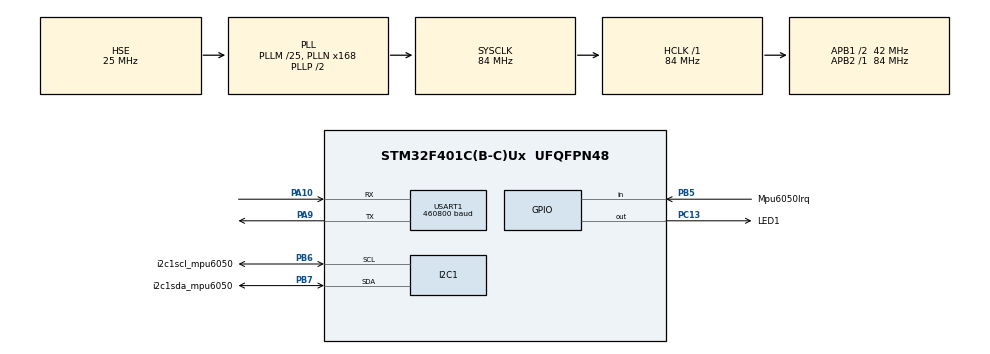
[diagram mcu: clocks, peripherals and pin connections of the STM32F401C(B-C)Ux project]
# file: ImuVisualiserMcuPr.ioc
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Dma.I2C1_RX.0.Direction=DMA_PERIPH_TO_MEMORY
Dma.I2C1_RX.0.FIFOMode=DMA_FIFOMODE_DISABLE
Dma.I2C1_RX.0.Instance=DMA1_Stream0
Dma.I2C1_RX.0.MemDataAlignment=DMA_MDATAALIGN_BYTE
Dma.I2C1_RX.0.MemInc=DMA_MINC_ENABLE
Dma.I2C1_RX.0.Mode=DMA_NORMAL
Dma.I2C1_RX.0.PeriphDataAlignment=DMA_PDATAALIGN_BYTE
Dma.I2C1_RX.0.PeriphInc=DMA_PINC_DISABLE
Dma.I2C1_RX.0.Priority=DMA_PRIORITY_LOW
Dma.I2C1_TX.1.Direction=DMA_MEMORY_TO_PERIPH
Dma.I2C1_TX.1.FIFOMode=DMA_FIFOMODE_DISABLE
Dma.I2C1_TX.1.Instance=DMA1_Stream6
Dma.I2C1_TX.1.MemDataAlignment=DMA_MDATAALIGN_BYTE
Dma.I2C1_TX.1.MemInc=DMA_MINC_ENABLE
Dma.I2C1_TX.1.Mode=DMA_NORMAL
Dma.I2C1_TX.1.PeriphDataAlignment=DMA_PDATAALIGN_BYTE
Dma.I2C1_TX.1.PeriphInc=DMA_PINC_DISABLE
Dma.I2C1_TX.1.Priority=DMA_PRIORITY_LOW
Dma.Request0=I2C1_RX
Dma.Request1=I2C1_TX
I2C1.I2C_Mode=I2C_Fast
Mcu.Family=STM32F4
Mcu.Name=STM32F401C(B-C)Ux
Mcu.Package=UFQFPN48
NVIC.DMA1_Stream0_IRQn=true\:0\:0\:false\:false\:true\:false\:true\:true
NVIC.DMA1_Stream6_IRQn=true\:0\:0\:false\:false\:true\:false\:true\:true
NVIC.I2C1_ER_IRQn=true\:0\:0\:false\:false\:true\:true\:true\:true
NVIC.I2C1_EV_IRQn=true\:0\:0\:false\:false\:true\:true\:true\:true
NVIC.PriorityGroup=NVIC_PRIORITYGROUP_4
PA10.Mode=Asynchronous
PA10.Signal=USART1_RX
PA9.Mode=Asynchronous
PA9.Signal=USART1_TX
PB5.GPIO_Label=Mpu6050Irq
PB5.Signal=GPIO_Input
PB6.GPIO_Label=i2c1scl_mpu6050
PB6.Mode=I2C
PB6.Signal=I2C1_SCL
PB7.GPIO_Label=i2c1sda_mpu6050
PB7.Mode=I2C
PB7.Signal=I2C1_SDA
PC13-ANTI_TAMP.GPIO_Label=LED1
PC13-ANTI_TAMP.Signal=GPIO_Output
PH0\ -\ OSC_IN.Mode=HSE-External-Oscillator
PH0\ -\ OSC_IN.Signal=RCC_OSC_IN
PH1\ -\ OSC_OUT.Mode=HSE-External-Oscillator
PH1\ -\ OSC_OUT.Signal=RCC_OSC_OUT
ProjectManager.HeapSize=0x200
ProjectManager.StackSize=0x400
ProjectManager.TargetToolchain=STM32CubeIDE
RCC.48MHZClocksFreq_Value=42000000
RCC.AHBFreq_Value=84000000
RCC.APB1CLKDivider=RCC_HCLK_DIV2
RCC.APB1Freq_Value=42000000
RCC.APB1TimFreq_Value=84000000
RCC.APB2Freq_Value=84000000
RCC.APB2TimFreq_Value=84000000
RCC.CortexFreq_Value=84000000
RCC.HCLKFreq_Value=84000000
RCC.HSE_VALUE=25000000
RCC.HSI_VALUE=16000000
RCC.LSE_VALUE=32768
RCC.PLLM=25
RCC.PLLN=168
RCC.PLLSourceVirtual=RCC_PLLSOURCE_HSE
RCC.SYSCLKFreq_VALUE=84000000
RCC.SYSCLKSource=RCC_SYSCLKSOURCE_PLLCLK
RCC.VCOOutputFreq_Value=168000000
USART1.BaudRate=460800
USART1.VirtualMode=VM_ASYNC
board=custom

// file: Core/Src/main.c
/* USER CODE BEGIN Header */
/**
  ******************************************************************************
  * @file           : main.c
  * @brief          : Main program body
  ******************************************************************************
  * @attention
  *
  * Copyright (c) 2023 STMicroelectronics.
  * All rights reserved.
  *
  * This software is licensed under terms that can be found in the LICENSE file
  * in the root directory of this software component.
  * If no LICENSE file comes with this software, it is provided AS-IS.
  *
  ******************************************************************************
  */
/* USER CODE END Header */
#include "main.h"
#include "dma.h"
#include "i2c.h"
#include "usart.h"
#include "gpio.h"

/* USER CODE BEGIN Includes */
#include "BluetoothClassicComm.h"
#include "mpu6050.h"
/* USER CODE END Includes */

void SystemClock_Config(void);

/* USER CODE BEGIN 0 */
uint32_t RecMpuDataCounter = 0;

uint8_t gyroCalibValues[6] = {0, 193, 0, 21, 255, 241};

MpuData_t MpuData;

BLU_ImuBaseDataReport_t BluImuBaseDataReport;

// As the sensor is set in init, the sensor takes a sample every 5ms (200hz),
// creates an interrupt, then puts the dma data in the buffer,
// then the data is scaled and the orientations are calculated.
// This process is repeated automatically every 5ms. So dt is 0.005 seconds
void HAL_I2C_MemRxCpltCallback(I2C_HandleTypeDef *hi2c)
{
  MPU6050_ReadDmaDataEndCallBack(&MpuData);
  RecMpuDataCounter++;
}

void HAL_GPIO_EXTI_Callback(uint16_t GPIO_Pin)
{
  MPU6050_Read_DMA();
}

void ReportBaseImuData(void)
{
  BluImuBaseDataReport.gyroX               = MpuData.gyroX;
  BluImuBaseDataReport.gyroY               = MpuData.gyroY;
  BluImuBaseDataReport.gyroZ               = MpuData.gyroZ;
  BluImuBaseDataReport.accX                = MpuData.accX;
  BluImuBaseDataReport.accY                = MpuData.accY;
  BluImuBaseDataReport.accZ                = MpuData.accZ;
  BluImuBaseDataReport.normalizedAccX      = MpuData.normalizedAccX;
  BluImuBaseDataReport.normalizedAccY      = MpuData.normalizedAccY;
  BluImuBaseDataReport.normalizedAccZ      = MpuData.normalizedAccZ;
  BluImuBaseDataReport.fildAccX            = MpuData.fildAccX;
  BluImuBaseDataReport.fildAccY            = MpuData.fildAccY;
  BluImuBaseDataReport.fildAccZ            = MpuData.fildAccZ;
  BluImuBaseDataReport.jerkX               = MpuData.jerkX;
  BluImuBaseDataReport.jerkY               = MpuData.jerkY;
  BluImuBaseDataReport.jerkZ               = MpuData.jerkZ;
  BluImuBaseDataReport.roll                = MpuData.roll;
  BluImuBaseDataReport.pitch               = MpuData.pitch;
  BluImuBaseDataReport.yaw                 = MpuData.yaw;
  BluImuBaseDataReport.velX                = MpuData.velX;
  BluImuBaseDataReport.velY                = MpuData.velY;
  BluImuBaseDataReport.velZ                = MpuData.velZ;
  BluImuBaseDataReport.posX                = MpuData.posX;
  BluImuBaseDataReport.posY                = MpuData.posZ; /*!!!Intended!!!*/
  BluImuBaseDataReport.posZ                = MpuData.posY;

  BLU_ReportImuData(&BluImuBaseDataReport);

}

/* USER CODE END 0 */

int main(void)
{

  /* MCU Configuration--------------------------------------------------------*/

  /* Reset of all peripherals, Initializes the Flash interface and the Systick. */
  HAL_Init();

  /* Configure the system clock */
  SystemClock_Config();

  /* Initialize all configured peripherals */
  MX_GPIO_Init();
  MX_DMA_Init();
  MX_I2C1_Init();
  MX_USART1_UART_Init();
  /* USER CODE BEGIN 2 */

  BLU_Init();

  MPU6050_Init(&hi2c1);
  // while (MPU6050_Init(&hi2c1) == 1){
  //   // MPU6050_DeviceReset(0);
  //   // HAL_Delay(1000);
  //   // MPU6050_DeviceReset(1);
  // }

  // uint8_t *NewCalibData = MPU6050_Calibrate_Gyro();
  MPU6050Set_Calibrate_Gyro(gyroCalibValues);
  MPU6050_Start_IRQ();
  MPU6050_Read_DMA();

  /* USER CODE END 2 */

  /* Infinite loop */
  /* USER CODE BEGIN WHILE */
  while (1)
  {
    static uint32_t LogAccelTimer = 0;

    if( (HAL_GetTick() - LogAccelTimer > 499 ) ) //
    {
      LogAccelTimer = HAL_GetTick();

      // BLU_DbgMsgTransmit("posX %.2f posY: %.2f posZ: %.2f",
      //                               MpuData.posX,
      //                               MpuData.posY,
      //                               MpuData.posZ
      //                               );

      // BLU_DbgMsgTransmit("RecDataCnt %d ",RecMpuDataCounter);

    }

    ReportBaseImuData();
    BLU_Task();
    /* USER CODE END WHILE */

  }
}

void SystemClock_Config(void)
{
  RCC_OscInitTypeDef RCC_OscInitStruct = {0};
  RCC_ClkInitTypeDef RCC_ClkInitStruct = {0};

  /** Configure the main internal regulator output voltage
  */
  __HAL_RCC_PWR_CLK_ENABLE();
  __HAL_PWR_VOLTAGESCALING_CONFIG(PWR_REGULATOR_VOLTAGE_SCALE2);

  /** Initializes the RCC Oscillators according to the specified parameters
  * in the RCC_OscInitTypeDef structure.
  */
  RCC_OscInitStruct.OscillatorType = RCC_OSCILLATORTYPE_HSE;
  RCC_OscInitStruct.HSEState = RCC_HSE_ON;
  RCC_OscInitStruct.PLL.PLLState = RCC_PLL_ON;
  RCC_OscInitStruct.PLL.PLLSource = RCC_PLLSOURCE_HSE;
  RCC_OscInitStruct.PLL.PLLM = 25;
  RCC_OscInitStruct.PLL.PLLN = 168;
  RCC_OscInitStruct.PLL.PLLP = RCC_PLLP_DIV2;
  RCC_OscInitStruct.PLL.PLLQ = 4;
  if (HAL_RCC_OscConfig(&RCC_OscInitStruct) != HAL_OK)
  {
    Error_Handler();
  }

  /** Initializes the CPU, AHB and APB buses clocks
  */
  RCC_ClkInitStruct.ClockType = RCC_CLOCKTYPE_HCLK|RCC_CLOCKTYPE_SYSCLK
                              |RCC_CLOCKTYPE_PCLK1|RCC_CLOCKTYPE_PCLK2;
  RCC_ClkInitStruct.SYSCLKSource = RCC_SYSCLKSOURCE_PLLCLK;
  RCC_ClkInitStruct.AHBCLKDivider = RCC_SYSCLK_DIV1;
  RCC_ClkInitStruct.APB1CLKDivider = RCC_HCLK_DIV2;
  RCC_ClkInitStruct.APB2CLKDivider = RCC_HCLK_DIV1;

  if (HAL_RCC_ClockConfig(&RCC_ClkInitStruct, FLASH_LATENCY_2) != HAL_OK)
  {
    Error_Handler();
  }
}

void Error_Handler(void)
{
  __disable_irq();
  while (1)
  {
  }
}
